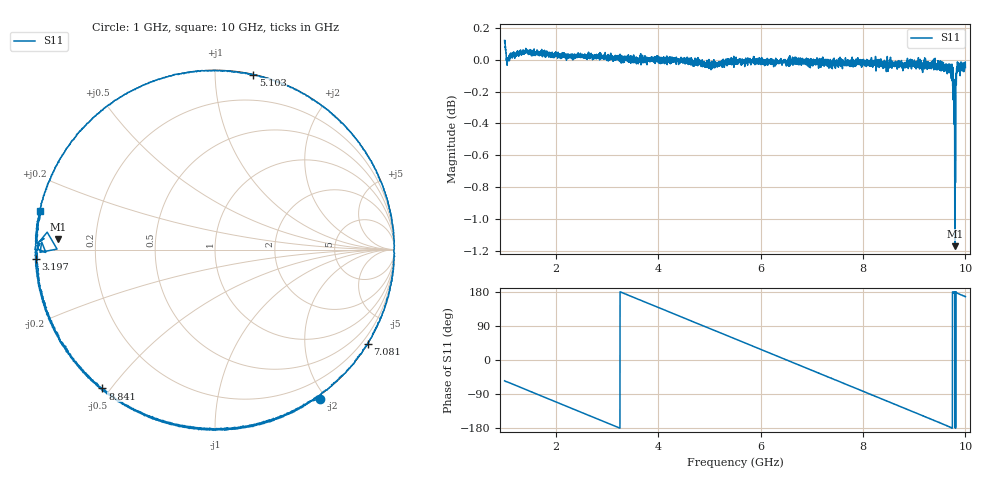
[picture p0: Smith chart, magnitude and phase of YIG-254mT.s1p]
#  HZ  S  RI  R  50.0
! Rohde & Schwarz ZVL13 2Ports - Version 3.31 - 1303.6509k13 SN: 101088
! Date: 2023-03-02 17:04:22
! Data & Calibration Information:
! Trc2:S21(Trans Norm)
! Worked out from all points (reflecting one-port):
!   4000 points, 1 GHz to 10 GHz, reference 50 ohm
!   lowest |S11| = -1.2 dB at 9.793 GHz (marker M1), VSWR 14.88, Z = 3.36 + j1.66 ohm
!   phase of S11 starts at -55 deg and turns -498 deg over the sweep
!   S11 on the Smith chart (normalised r, x): 1 GHz: -0.03, -1.92; 3.197 GHz: -0.00, -0.03; 5.103 GHz: 0.01, +1.24; 7.081 GHz: 0.01, -3.53; 8.841 GHz: 0.00, -0.48; 10 GHz: 0.00, +0.11
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1e9  0.5822 -0.8302
1.330833e9  0.2885 -0.9624
1.578395e9  0.0504 -1.006
1.850713e9  -0.2131 -0.9803
2.125281e9  -0.4617 -0.8896
2.67892e9  -0.8524 -0.5312
3.196549e9  -0.9986 -0.0542
3.250563e9  -0.9988 -0.00156
3.511628e9  -0.967 0.2476
3.786197e9  -0.8723 0.4898
4.375844e9  -0.4666 0.8836
4.75844e9  -0.116 0.9906
5.102776e9  0.2128 0.9726
5.501125e9  0.562 0.8248
6.077269e9  0.9103 0.4035
6.35859e9  0.9865 0.1456
6.626407e9  0.9924 -0.1144
7.08102e9  0.8503 -0.5244
7.409602e9  0.6473 -0.761
7.751688e9  0.3626 -0.927
8.033008e9  0.0986 -0.9923
8.303076e9  -0.1593 -0.984
8.84096e9  -0.6276 -0.7737
8.876969e9  -0.6541 -0.751
9.369842e9  -0.9272 -0.3646
9.644411e9  -0.9844 -0.1042
9.792948e9  -0.8721 0.0582
1e10  -0.9693 0.2217
